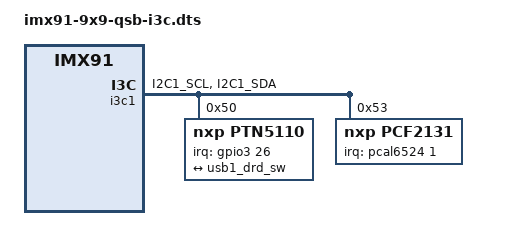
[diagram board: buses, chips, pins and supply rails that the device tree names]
// SPDX-License-Identifier: (GPL-2.0+ OR MIT)
/*
 * Copyright 2024 NXP
 */

#include "imx91-9x9-qsb.dts"
#include <dt-bindings/i3c/i3c.h>

/{
	aliases {
		/delete-property/ i2c0;
	};
};

/delete-node/&lpi2c1;

&i3c1 {
	pinctrl-names = "default";
	pinctrl-0 = <&pinctrl_i3c1>;
	i2c-scl-hz = <400000>;
	status = "okay";

	ptn5110: tcpc@50 {
		compatible = "nxp,ptn5110";
		reg = <0x50 0x00 (I2C_FM | I2C_NO_FILTER_LOW_FREQUENCY)>;
		interrupt-parent = <&gpio3>;
		interrupts = <26 IRQ_TYPE_LEVEL_LOW>;
		status = "okay";

		port {
			typec1_dr_sw: endpoint {
				remote-endpoint = <&usb1_drd_sw>;
			};
		};

		typec1_con: connector {
			compatible = "usb-c-connector";
			label = "USB-C";
			power-role = "dual";
			data-role = "dual";
			try-power-role = "sink";
			source-pdos = <PDO_FIXED(5000, 3000, PDO_FIXED_USB_COMM)>;
			sink-pdos = <PDO_FIXED(5000, 3000, PDO_FIXED_USB_COMM)
				     PDO_VAR(5000, 20000, 3000)>;
			op-sink-microwatt = <15000000>;
			self-powered;
		};
	};

    pcf2131: rtc@53 {
			compatible = "nxp,pcf2131";
			reg = <0x53 0x00 (I2C_FM | I2C_NO_FILTER_LOW_FREQUENCY)>;
			interrupt-parent = <&pcal6524>;
			interrupts = <1 IRQ_TYPE_EDGE_FALLING>;
			status = "okay";
	};
};

&iomuxc {
	pinctrl_i3c1: i3c1grp {
		fsl,pins = <
			MX91_PAD_I2C1_SCL__I3C1_SCL	0x40000186
			MX91_PAD_I2C1_SDA__I3C1_SDA	0x40000186
		>;
	};
};
